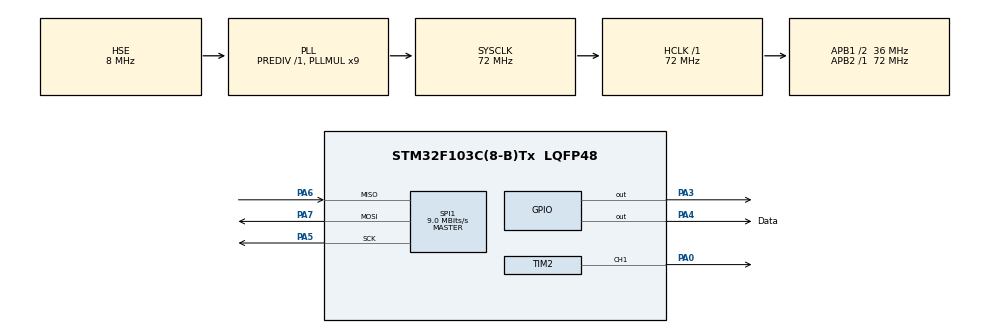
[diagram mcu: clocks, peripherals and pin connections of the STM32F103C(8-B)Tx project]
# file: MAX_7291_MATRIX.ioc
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Mcu.Family=STM32F1
Mcu.Name=STM32F103C(8-B)Tx
Mcu.Package=LQFP48
NVIC.PriorityGroup=NVIC_PRIORITYGROUP_4
NVIC.SPI1_IRQn=true\:0\:0\:true\:false\:true\:true\:true\:true
NVIC.TIM2_IRQn=true\:0\:0\:false\:false\:true\:true\:true\:true
PA0-WKUP.Signal=S_TIM2_CH1_ETR
PA13.Mode=Serial_Wire
PA13.Signal=SYS_JTMS-SWDIO
PA14.Mode=Serial_Wire
PA14.Signal=SYS_JTCK-SWCLK
PA3.Signal=GPIO_Output
PA4.GPIO_Label=Data
PA4.Signal=GPIO_Output
PA5.Mode=Full_Duplex_Master
PA5.Signal=SPI1_SCK
PA6.Mode=Full_Duplex_Master
PA6.Signal=SPI1_MISO
PA7.Mode=Full_Duplex_Master
PA7.Signal=SPI1_MOSI
PD0-OSC_IN.Mode=HSE-External-Oscillator
PD0-OSC_IN.Signal=RCC_OSC_IN
PD1-OSC_OUT.Mode=HSE-External-Oscillator
PD1-OSC_OUT.Signal=RCC_OSC_OUT
ProjectManager.HeapSize=0x200
ProjectManager.StackSize=0x400
ProjectManager.TargetToolchain=MDK-ARM V5.32
RCC.AHBFreq_Value=72000000
RCC.APB1CLKDivider=RCC_HCLK_DIV2
RCC.APB1Freq_Value=36000000
RCC.APB1TimFreq_Value=72000000
RCC.APB2Freq_Value=72000000
RCC.APB2TimFreq_Value=72000000
RCC.HCLKFreq_Value=72000000
RCC.PLLMUL=RCC_PLL_MUL9
RCC.PLLSourceVirtual=RCC_PLLSOURCE_HSE
RCC.SYSCLKFreq_VALUE=72000000
RCC.SYSCLKSource=RCC_SYSCLKSOURCE_PLLCLK
RCC.USBFreq_Value=72000000
SH.S_TIM2_CH1_ETR.0=TIM2_CH1,PWM Generation1 CH1
SPI1.BaudRatePrescaler=SPI_BAUDRATEPRESCALER_8
SPI1.CalculateBaudRate=9.0 MBits/s
SPI1.Direction=SPI_DIRECTION_2LINES
SPI1.Mode=SPI_MODE_MASTER
SPI1.VirtualType=VM_MASTER
TIM2.Channel-PWM\ Generation1\ CH1=TIM_CHANNEL_1
TIM2.Period=1000-1
TIM2.Prescaler=1440-1
VP_TIM2_VS_ClockSourceINT.Mode=Internal
board=custom

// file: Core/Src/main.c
/* USER CODE BEGIN Header */
/**
  ******************************************************************************
  * @file           : main.c
  * @brief          : Main program body
  ******************************************************************************
  * @attention
  *
  * Copyright (c) 2023 STMicroelectronics.
  * All rights reserved.
  *
  * This software is licensed under terms that can be found in the LICENSE file
  * in the root directory of this software component.
  * If no LICENSE file comes with this software, it is provided AS-IS.
  *
  ******************************************************************************
  */
/* USER CODE END Header */
#include "main.h"

/* USER CODE BEGIN Includes */
#include "max_7219.h"
/* USER CODE END Includes */

SPI_HandleTypeDef hspi1;

TIM_HandleTypeDef htim2;

/* USER CODE BEGIN PV */
uint8_t limit_row_values[8];
uint8_t limit_row =8;
uint8_t limit_col= 8;
uint8_t begin_row = 0;
uint8_t begin_col = 1;
/* USER CODE END PV */

void SystemClock_Config(void);
static void MX_GPIO_Init(void);
static void MX_SPI1_Init(void);
static void MX_TIM2_Init(void);

int main(void)
{

  /* MCU Configuration--------------------------------------------------------*/

  /* Reset of all peripherals, Initializes the Flash interface and the Systick. */
  HAL_Init();

  /* Configure the system clock */
  SystemClock_Config();

  /* Initialize all configured peripherals */
  MX_GPIO_Init();
  MX_SPI1_Init();
  MX_TIM2_Init();
  /* USER CODE BEGIN 2 */
	init_max7219();
	clean_led();
	HAL_TIM_PWM_Start(&htim2,TIM_CHANNEL_1); //start PWM
  /* USER CODE END 2 */

  /* Infinite loop */
  /* USER CODE BEGIN WHILE */
  while (1)
  {
		//---------Project SG92R Servo Motor----------------//
		/*htim2.Instance->CCR1 = 25;
		HAL_Delay(400);
		htim2.Instance->CCR1 = 75;
		HAL_Delay(400);
		htim2.Instance->CCR1 = 125;
		HAL_Delay(400);
		*/

		//-------Display all led----------//
		if(limit_col>0)
		{
			limit_col--;
			for(begin_row=0;begin_row<limit_row;begin_row++)
			{
				sendData(begin_col,1<<begin_row);
				HAL_Delay(50);
			}
			// Change col
			begin_col++;
			// Reset
			begin_row=0;
		}
    else
    {
      // Decrease row
      limit_row--;
      // Reset status
      limit_col=8;
      begin_col=1;
      begin_row=0;
			for (uint8_t i = limit_row; i > 0; i--)
			{
				display_column_y(i);
				HAL_Delay(50);
      }
        display_column_y(0);
        HAL_Delay(50);
		}
		if (limit_row ==0)
		{
			limit_row=8;
		}

//		//-------Display all led----------//

//-------Display all up to down----------//
//		sendData(8,1<<7);
//		sendData(7,1<<7);
//		sendData(6,1<<7);
//		sendData(5,1<<7);
//		sendData(4,1<<7);
//		sendData(3,1<<7);
//		sendData(2,1<<7);
//		sendData(1,1<<7);
// 		display_column_y(7);
//-------Display all up to down----------//*/

    /* USER CODE END WHILE */

  }
}

void SystemClock_Config(void)
{
  RCC_OscInitTypeDef RCC_OscInitStruct = {0};
  RCC_ClkInitTypeDef RCC_ClkInitStruct = {0};

  /** Initializes the RCC Oscillators according to the specified parameters
  * in the RCC_OscInitTypeDef structure.
  */
  RCC_OscInitStruct.OscillatorType = RCC_OSCILLATORTYPE_HSE;
  RCC_OscInitStruct.HSEState = RCC_HSE_ON;
  RCC_OscInitStruct.HSEPredivValue = RCC_HSE_PREDIV_DIV1;
  RCC_OscInitStruct.HSIState = RCC_HSI_ON;
  RCC_OscInitStruct.PLL.PLLState = RCC_PLL_ON;
  RCC_OscInitStruct.PLL.PLLSource = RCC_PLLSOURCE_HSE;
  RCC_OscInitStruct.PLL.PLLMUL = RCC_PLL_MUL9;
  if (HAL_RCC_OscConfig(&RCC_OscInitStruct) != HAL_OK)
  {
    Error_Handler();
  }

  /** Initializes the CPU, AHB and APB buses clocks
  */
  RCC_ClkInitStruct.ClockType = RCC_CLOCKTYPE_HCLK|RCC_CLOCKTYPE_SYSCLK
                              |RCC_CLOCKTYPE_PCLK1|RCC_CLOCKTYPE_PCLK2;
  RCC_ClkInitStruct.SYSCLKSource = RCC_SYSCLKSOURCE_PLLCLK;
  RCC_ClkInitStruct.AHBCLKDivider = RCC_SYSCLK_DIV1;
  RCC_ClkInitStruct.APB1CLKDivider = RCC_HCLK_DIV2;
  RCC_ClkInitStruct.APB2CLKDivider = RCC_HCLK_DIV1;

  if (HAL_RCC_ClockConfig(&RCC_ClkInitStruct, FLASH_LATENCY_2) != HAL_OK)
  {
    Error_Handler();
  }
}

static void MX_SPI1_Init(void)
{

  /* SPI1 parameter configuration*/
  hspi1.Instance = SPI1;
  hspi1.Init.Mode = SPI_MODE_MASTER;
  hspi1.Init.Direction = SPI_DIRECTION_2LINES;
  hspi1.Init.DataSize = SPI_DATASIZE_8BIT;
  hspi1.Init.CLKPolarity = SPI_POLARITY_LOW;
  hspi1.Init.CLKPhase = SPI_PHASE_1EDGE;
  hspi1.Init.NSS = SPI_NSS_SOFT;
  hspi1.Init.BaudRatePrescaler = SPI_BAUDRATEPRESCALER_8;
  hspi1.Init.FirstBit = SPI_FIRSTBIT_MSB;
  hspi1.Init.TIMode = SPI_TIMODE_DISABLE;
  hspi1.Init.CRCCalculation = SPI_CRCCALCULATION_DISABLE;
  hspi1.Init.CRCPolynomial = 10;
  if (HAL_SPI_Init(&hspi1) != HAL_OK)
  {
    Error_Handler();
  }

}

static void MX_TIM2_Init(void)
{

  TIM_ClockConfigTypeDef sClockSourceConfig = {0};
  TIM_MasterConfigTypeDef sMasterConfig = {0};
  TIM_OC_InitTypeDef sConfigOC = {0};

  htim2.Instance = TIM2;
  htim2.Init.Prescaler = 1440-1;
  htim2.Init.CounterMode = TIM_COUNTERMODE_UP;
  htim2.Init.Period = 1000-1;
  htim2.Init.ClockDivision = TIM_CLOCKDIVISION_DIV1;
  htim2.Init.AutoReloadPreload = TIM_AUTORELOAD_PRELOAD_DISABLE;
  if (HAL_TIM_Base_Init(&htim2) != HAL_OK)
  {
    Error_Handler();
  }
  sClockSourceConfig.ClockSource = TIM_CLOCKSOURCE_INTERNAL;
  if (HAL_TIM_ConfigClockSource(&htim2, &sClockSourceConfig) != HAL_OK)
  {
    Error_Handler();
  }
  if (HAL_TIM_PWM_Init(&htim2) != HAL_OK)
  {
    Error_Handler();
  }
  sMasterConfig.MasterOutputTrigger = TIM_TRGO_RESET;
  sMasterConfig.MasterSlaveMode = TIM_MASTERSLAVEMODE_DISABLE;
  if (HAL_TIMEx_MasterConfigSynchronization(&htim2, &sMasterConfig) != HAL_OK)
  {
    Error_Handler();
  }
  sConfigOC.OCMode = TIM_OCMODE_PWM1;
  sConfigOC.Pulse = 0;
  sConfigOC.OCPolarity = TIM_OCPOLARITY_HIGH;
  sConfigOC.OCFastMode = TIM_OCFAST_DISABLE;
  if (HAL_TIM_PWM_ConfigChannel(&htim2, &sConfigOC, TIM_CHANNEL_1) != HAL_OK)
  {
    Error_Handler();
  }
  HAL_TIM_MspPostInit(&htim2);

}

static void MX_GPIO_Init(void)
{
  GPIO_InitTypeDef GPIO_InitStruct = {0};

  /* GPIO Ports Clock Enable */
  __HAL_RCC_GPIOD_CLK_ENABLE();
  __HAL_RCC_GPIOA_CLK_ENABLE();

  /*Configure GPIO pin Output Level */
  HAL_GPIO_WritePin(GPIOA, GPIO_PIN_3|Data_Pin, GPIO_PIN_RESET);

  /*Configure GPIO pins : PA3 Data_Pin */
  GPIO_InitStruct.Pin = GPIO_PIN_3|Data_Pin;
  GPIO_InitStruct.Mode = GPIO_MODE_OUTPUT_PP;
  GPIO_InitStruct.Pull = GPIO_NOPULL;
  GPIO_InitStruct.Speed = GPIO_SPEED_FREQ_LOW;
  HAL_GPIO_Init(GPIOA, &GPIO_InitStruct);

}

void Error_Handler(void)
{
  __disable_irq();
  while (1)
  {
  }
}
